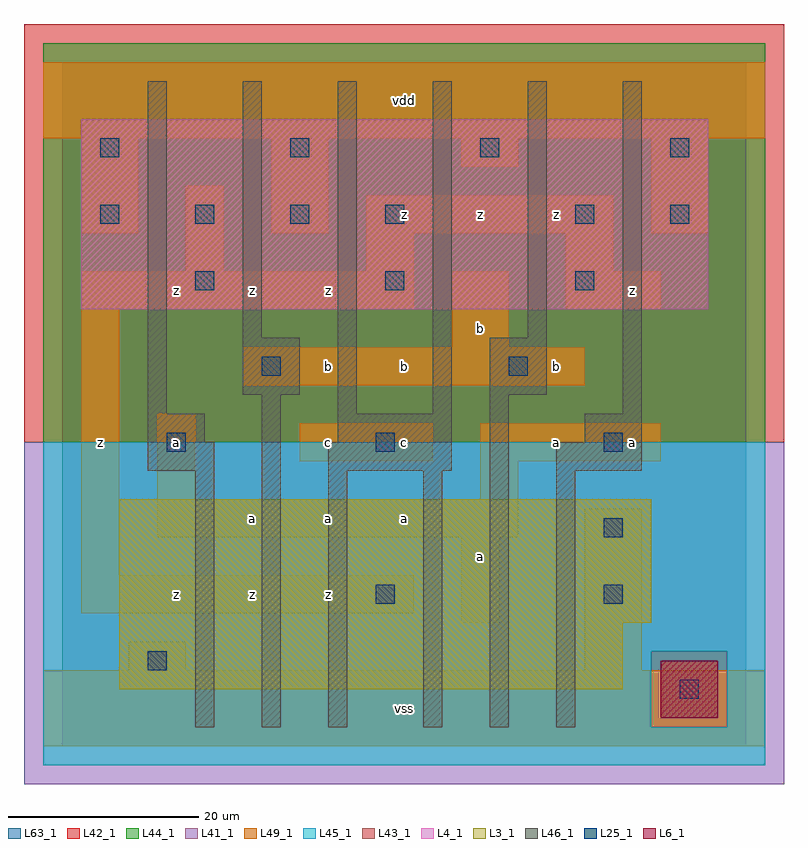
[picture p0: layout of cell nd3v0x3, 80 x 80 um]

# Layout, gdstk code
import gdstk
lib = gdstk.Library(unit=1e-6, precision=1e-09)
def R(c, l, rs):  # rectangles x0, y0, x1, y1
    for r in rs: c.add(gdstk.rectangle(r[:2], r[2:], *l))
def A(c, l, x, y, w, h, nx, ny, dx, dy):  # array of equal rectangles
    R(c, l, [(x+i*dx, y+j*dy, x+i*dx+w, y+j*dy+h) for i in range(nx) for j in range(ny)])
L3_1 = (3, 1)
L4_1 = (4, 1)
L6_1 = (6, 1)
L25_1 = (25, 1)
L41_1 = (41, 1)
L42_1 = (42, 1)
L43_1 = (43, 1)
L44_1 = (44, 1)
L45_1 = (45, 1)
L46_1 = (46, 1)
L49_1 = (49, 1)
L63_1 = (63, 1)

nd3v0x3 = lib.new_cell('nd3v0x3')
R(nd3v0x3, L3_1, [(6,6,59,13), (6,13,62,26)])
R(nd3v0x3, L4_1, [(2,46,68,66)])
R(nd3v0x3, L6_1, [(63,3,69,9), (63,3,69,9)])
A(nd3v0x3, L25_1, 14, 48, 2, 2, 3, 1, 20, 0)
A(nd3v0x3, L25_1, 4, 55, 2, 2, 4, 1, 10, 0)
A(nd3v0x3, L25_1, 4, 62, 2, 2, 4, 1, 20, 0)
R(nd3v0x3, L25_1, [(65,5,67,7), (9,8,11,10), (33,15,35,17), (57,15,59,17), (57,22,59,24), (11,31,13,33), (33,31,35,33), (57,31,59,33), (21,39,23,41), (47,39,49,41), (54,55,56,57), (64,55,66,57)])
R(nd3v0x3, L41_1, [(-4,-4,76,32)])
R(nd3v0x3, L42_1, [(-4,32,76,76)])
R(nd3v0x3, L43_1, [(63,3,69,9), (6,6,59,13), (6,13,62,26), (2,46,68,66)])
R(nd3v0x3, L44_1, [(62,2,70,10), (-2,32,74,74)])
R(nd3v0x3, L45_1, [(-2,-2,74,2), (-2,2,62,10), (70,2,74,10), (-2,10,74,32)])
R(nd3v0x3, L46_1, [(14,2,16,29), (21,2,23,37), (28,2,30,29), (38,2,40,29), (45,2,47,37), (52,2,54,29), (9,29,16,32), (28,29,41,32), (52,29,61,32), (9,32,15,35), (29,32,41,35), (55,32,61,35), (9,35,11,70), (29,35,31,70), (39,35,41,70), (59,35,61,70), (19,37,25,43), (45,37,51,43), (19,43,21,70), (49,43,51,70)])
R(nd3v0x3, L49_1, [(-2,0,74,8), (7,8,13,11), (55,8,61,25), (42,13,46,22), (2,14,37,18), (2,18,6,46), (10,22,48,26), (10,26,14,35), (44,26,48,30), (25,30,39,34), (44,30,63,34), (19,38,55,42), (41,42,47,50), (2,46,37,50), (53,46,63,50), (13,50,17,59), (32,50,37,54), (53,50,58,54), (2,54,8,64), (22,54,28,64), (32,54,58,58), (62,54,68,64), (42,61,48,64), (-2,64,74,72)])
R(nd3v0x3, L63_1, [(0,0,72,72)])
nd3v0x3.add(gdstk.Label('z', (4,32), layer=49, texttype=1))
nd3v0x3.add(gdstk.Label('z', (20,16), layer=49, texttype=1))
nd3v0x3.add(gdstk.Label('z', (12,16), layer=49, texttype=1))
nd3v0x3.add(gdstk.Label('a', (20,24), layer=49, texttype=1))
nd3v0x3.add(gdstk.Label('a', (12,32), layer=49, texttype=1))
nd3v0x3.add(gdstk.Label('z', (12,48), layer=49, texttype=1))
nd3v0x3.add(gdstk.Label('z', (20,48), layer=49, texttype=1))
nd3v0x3.add(gdstk.Label('vss', (36,4), layer=49, texttype=1))
nd3v0x3.add(gdstk.Label('z', (28,16), layer=49, texttype=1))
nd3v0x3.add(gdstk.Label('a', (28,24), layer=49, texttype=1))
nd3v0x3.add(gdstk.Label('a', (36,24), layer=49, texttype=1))
nd3v0x3.add(gdstk.Label('c', (36,32), layer=49, texttype=1))
nd3v0x3.add(gdstk.Label('c', (28,32), layer=49, texttype=1))
nd3v0x3.add(gdstk.Label('b', (28,40), layer=49, texttype=1))
nd3v0x3.add(gdstk.Label('b', (36,40), layer=49, texttype=1))
nd3v0x3.add(gdstk.Label('z', (28,48), layer=49, texttype=1))
nd3v0x3.add(gdstk.Label('z', (36,56), layer=49, texttype=1))
nd3v0x3.add(gdstk.Label('vdd', (36,68), layer=49, texttype=1))
nd3v0x3.add(gdstk.Label('a', (44,20), layer=49, texttype=1))
nd3v0x3.add(gdstk.Label('a', (52,32), layer=49, texttype=1))
nd3v0x3.add(gdstk.Label('b', (52,40), layer=49, texttype=1))
nd3v0x3.add(gdstk.Label('b', (44,44), layer=49, texttype=1))
nd3v0x3.add(gdstk.Label('z', (52,56), layer=49, texttype=1))
nd3v0x3.add(gdstk.Label('z', (44,56), layer=49, texttype=1))
nd3v0x3.add(gdstk.Label('a', (60,32), layer=49, texttype=1))
nd3v0x3.add(gdstk.Label('z', (60,48), layer=49, texttype=1))

lib.write_gds('nd3v0x3.gds')
